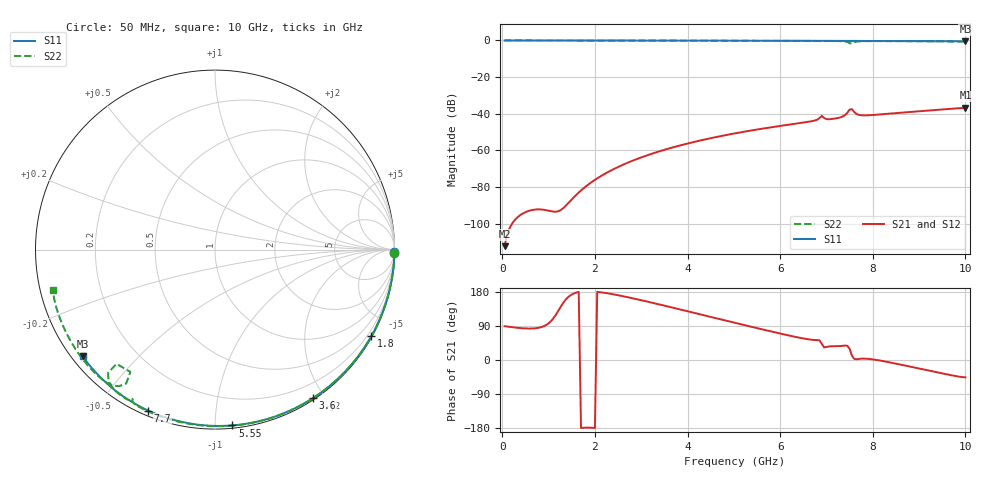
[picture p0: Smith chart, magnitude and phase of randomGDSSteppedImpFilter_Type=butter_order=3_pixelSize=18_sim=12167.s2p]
! freq	dB(S11)	phase(S11)	dB(S12)	phase(S12)
!  dB(S21)	phase(S21)	dB(S22)	phase(S22)
!S-par simulation data
#  GHz  S  DB  R 50
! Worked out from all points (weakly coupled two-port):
!   200 points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, 50 MHz to 10 GHz, reference 50 ohm
!   highest |S21| = -36.73 dB at 10 GHz (marker M1); lowest = -112.4 dB at 50 MHz (marker M2)
!   lowest |S11| = -0.5 dB at 10 GHz (marker M3), VSWR 36.68, Z = 1.53 - j17.6 ohm
!   |S11| at or under -10 dB: nowhere
!   |S22| runs from -1.6 to 0.0 dB; largest |S21 - S12| = 0
!   S11 on the Smith chart (normalised r, x): 50 MHz: open; 1.8 GHz: 0.03, -3.86; 3.6 GHz: 0.02, -1.86; 5.55 GHz: 0.02, -1.10; 7.7 GHz: 0.02, -0.67; 10 GHz: 0.03, -0.35
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0.05  -0.00 -0.8  -112.36 89.2  -112.36 89.2  -0.00 -1.0
0.9  -0.02 -14.6  -92.49 89.4  -92.49 89.4  -0.02 -17.0
1.75  -0.04 -28.2  -80.86 -178.7  -80.86 -178.7  -0.04 -32.7
1.8  -0.04 -29.0  -79.83 -178.4  -79.83 -178.4  -0.04 -33.6
2.1  -0.04 -33.7  -74.53 179.2  -74.53 179.2  -0.05 -39.0
2.45  -0.05 -39.2  -69.71 172.1  -69.71 172.1  -0.06 -45.3
3.4  -0.07 -53.6  -60.50 146.4  -60.50 146.4  -0.08 -61.9
3.6  -0.08 -56.6  -59.00 140.5  -59.00 140.5  -0.09 -65.4
5.05  -0.12 -77.5  -50.63 97.4  -50.63 97.4  -0.14 -89.4
5.55  -0.14 -84.4  -48.45 82.7  -48.45 82.7  -0.16 -97.4
6.7  -0.19 -99.7  -44.02 53.2  -44.02 53.2  -0.24 -115.8
6.8  -0.20 -101.0  -43.26 52.6  -43.26 52.6  -0.27 -117.6
6.9  -0.20 -102.3  -41.19 42.4  -41.19 42.4  -0.44 -118.9
7.05  -0.21 -104.3  -43.05 35.7  -43.05 35.7  -0.29 -120.9
7.25  -0.23 -106.9  -42.32 36.4  -42.32 36.4  -0.33 -125.0
7.4  -0.24 -108.8  -40.79 38.1  -40.79 38.1  -0.54 -129.2
7.5  -0.24 -110.0  -37.78 29.5  -37.78 29.5  -1.51 -130.8
7.55  -0.25 -110.7  -37.56 11.6  -37.56 11.6  -1.63 -124.7
7.6  -0.25 -111.3  -39.08 2.8  -39.08 2.8  -0.95 -123.6
7.7  -0.26 -112.6  -40.64 2.9  -40.64 2.9  -0.49 -126.7
8.35  -0.31 -120.7  -40.01 -5.9  -40.01 -5.9  -0.37 -138.9
10  -0.47 -141.2  -36.73 -45.9  -36.73 -45.9  -0.63 -165.8
